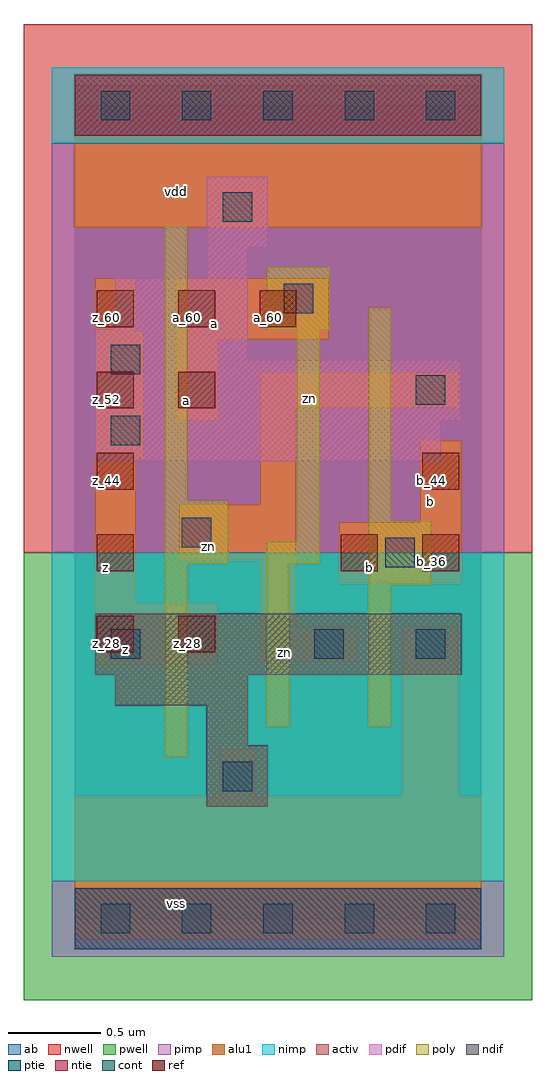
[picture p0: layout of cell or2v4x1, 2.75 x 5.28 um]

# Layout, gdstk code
import gdstk
lib = gdstk.Library(unit=1e-6, precision=2.5e-09)
def R(c, l, rs):  # rectangles x0, y0, x1, y1
    for r in rs: c.add(gdstk.rectangle(r[:2], r[2:], *l))
def A(c, l, x, y, w, h, nx, ny, dx, dy):  # array of equal rectangles
    R(c, l, [(x+i*dx, y+j*dy, x+i*dx+w, y+j*dy+h) for i in range(nx) for j in range(ny)])
ndif = (3, 0)
pdif = (4, 0)
ntie = (5, 0)
ptie = (6, 0)
ref = (24, 0)
cont = (25, 0)
pwell = (41, 0)
nwell = (42, 0)
activ = (43, 0)
pimp = (44, 0)
nimp = (45, 0)
poly = (46, 0)
alu1 = (49, 0)
ab = (63, 0)

or2v4x1 = lib.new_cell('or2v4x1')
R(or2v4x1, ndif, [(0.715,0.605,1.045,0.935), (0.715,0.935,0.935,1.155), (0.22,1.155,0.935,1.32), (0.11,1.32,2.09,1.65)])
R(or2v4x1, pdif, [(0.11,2.475,1.98,2.695), (0.11,2.695,2.09,3.025), (0.11,3.025,0.935,3.19), (0.22,3.19,0.935,3.465), (0.715,3.465,0.935,3.63), (0.715,3.63,1.045,4.015)])
R(or2v4x1, ntie, [(0,4.235,2.2,4.565)])
R(or2v4x1, ptie, [(0,-0.165,2.2,0.165)])
A(or2v4x1, ref, 0.12, 1.44, 0.2, 0.2, 1, 4, 0, 0.44)
A(or2v4x1, ref, 0.12, 3.2, 0.2, 0.2, 3, 1, 0.44, 0)
R(or2v4x1, ref, [(0.56,1.44,0.76,1.64), (1.44,1.88,1.64,2.08), (1.88,1.88,2.08,2.08), (1.88,2.32,2.08,2.52), (0.56,2.76,0.76,2.96)])
A(or2v4x1, cont, 0.14, -0.08, 0.16, 0.16, 5, 2, 0.44, 4.4)
R(or2v4x1, cont, [(0.8,0.69,0.96,0.85), (0.195,1.405,0.355,1.565), (1.295,1.405,1.455,1.565), (1.845,1.405,2.005,1.565), (1.68,1.9,1.84,2.06), (0.58,2.01,0.74,2.17), (0.195,2.56,0.355,2.72), (1.845,2.78,2.005,2.94), (0.195,2.945,0.355,3.105), (1.13,3.275,1.29,3.435), (0.8,3.77,0.96,3.93)])
R(or2v4x1, pwell, [(-0.275,-0.44,2.475,1.98)])
R(or2v4x1, nwell, [(-0.275,1.98,2.475,4.84)])
R(or2v4x1, activ, [(0,-0.165,2.2,0.165), (0.715,0.605,1.045,0.935), (0.715,0.935,0.935,1.155), (0.22,1.155,0.935,1.32), (0.11,1.32,2.09,1.65), (0.11,2.475,1.98,2.695), (0.11,2.695,2.09,3.025), (0.11,3.025,0.935,3.19), (0.22,3.19,0.935,3.465), (0.715,3.465,0.935,3.63), (0.715,3.63,1.045,4.015), (0,4.235,2.2,4.565)])
R(or2v4x1, pimp, [(-0.125,-0.205,2.325,0.205), (-0.125,1.98,2.325,4.195)])
R(or2v4x1, nimp, [(-0.125,0.205,2.325,1.98), (-0.125,4.195,2.325,4.605)])
R(or2v4x1, poly, [(0.49,0.875,0.61,1.92), (1.04,1.04,1.16,1.92), (1.59,1.04,1.71,1.81), (1.59,1.81,1.93,2.15), (0.49,1.92,0.83,2.26), (1.04,1.92,1.325,2.04), (1.205,2.04,1.325,3.185), (1.59,2.15,1.71,3.305), (0.49,2.26,0.61,3.745), (1.04,3.185,1.38,3.525)])
R(or2v4x1, alu1, [(0,-0.11,2.2,0.66), (0.785,0.66,0.975,0.92), (1.775,0.66,2.075,1.58), (0.11,1.375,0.77,1.705), (1.005,1.39,1.525,1.58), (1.005,1.58,1.195,1.94), (0.11,1.705,0.33,2.49), (1.43,1.815,2.09,2.145), (0.565,1.94,1.195,2.24), (1.87,2.145,2.09,2.585), (1.005,2.24,1.195,2.765), (0.11,2.49,0.37,3.175), (0.55,2.695,0.77,3.135), (1.005,2.765,2.075,2.955), (0.55,3.135,1.375,3.465), (0.11,3.175,0.33,3.465), (0,3.74,2.2,4.51)])
R(or2v4x1, ab, [(0,0,2.2,4.4)])
or2v4x1.add(gdstk.Label('vss', (0.55,0.0825), layer=49, texttype=0))
or2v4x1.add(gdstk.Label('zn', (1.135,1.4375), layer=49, texttype=0))
or2v4x1.add(gdstk.Label('b', (1.595,1.8975), layer=49, texttype=0))
or2v4x1.add(gdstk.Label('z', (0.275,1.4575), layer=49, texttype=0))
or2v4x1.add(gdstk.Label('b', (1.925,2.255), layer=49, texttype=0))
or2v4x1.add(gdstk.Label('zn', (0.7225,2.015), layer=49, texttype=0))
or2v4x1.add(gdstk.Label('z', (0.165,1.9), layer=49, texttype=0))
or2v4x1.add(gdstk.Label('zn', (1.2725,2.8125), layer=49, texttype=0))
or2v4x1.add(gdstk.Label('a', (0.605,2.805), layer=49, texttype=0))
or2v4x1.add(gdstk.Label('a', (0.755,3.2175), layer=49, texttype=0))
or2v4x1.add(gdstk.Label('vdd', (0.55,3.9325), layer=49, texttype=0))
or2v4x1.add(gdstk.Label('z_28', (0.61,1.49), layer=24, texttype=0))
or2v4x1.add(gdstk.Label('a_52', (0.61,2.81), layer=24, texttype=0))
or2v4x1.add(gdstk.Label('a_60', (0.61,3.25), layer=24, texttype=0))
or2v4x1.add(gdstk.Label('a_60', (1.05,3.25), layer=24, texttype=0))
or2v4x1.add(gdstk.Label('b_36', (1.49,1.93), layer=24, texttype=0))
or2v4x1.add(gdstk.Label('b_36', (1.93,1.93), layer=24, texttype=0))
or2v4x1.add(gdstk.Label('b_44', (1.93,2.37), layer=24, texttype=0))
or2v4x1.add(gdstk.Label('z_28', (0.17,1.49), layer=24, texttype=0))
or2v4x1.add(gdstk.Label('z_36', (0.17,1.93), layer=24, texttype=0))
or2v4x1.add(gdstk.Label('z_44', (0.17,2.37), layer=24, texttype=0))
or2v4x1.add(gdstk.Label('z_52', (0.17,2.81), layer=24, texttype=0))
or2v4x1.add(gdstk.Label('z_60', (0.17,3.25), layer=24, texttype=0))

lib.write_gds('or2v4x1.gds')
